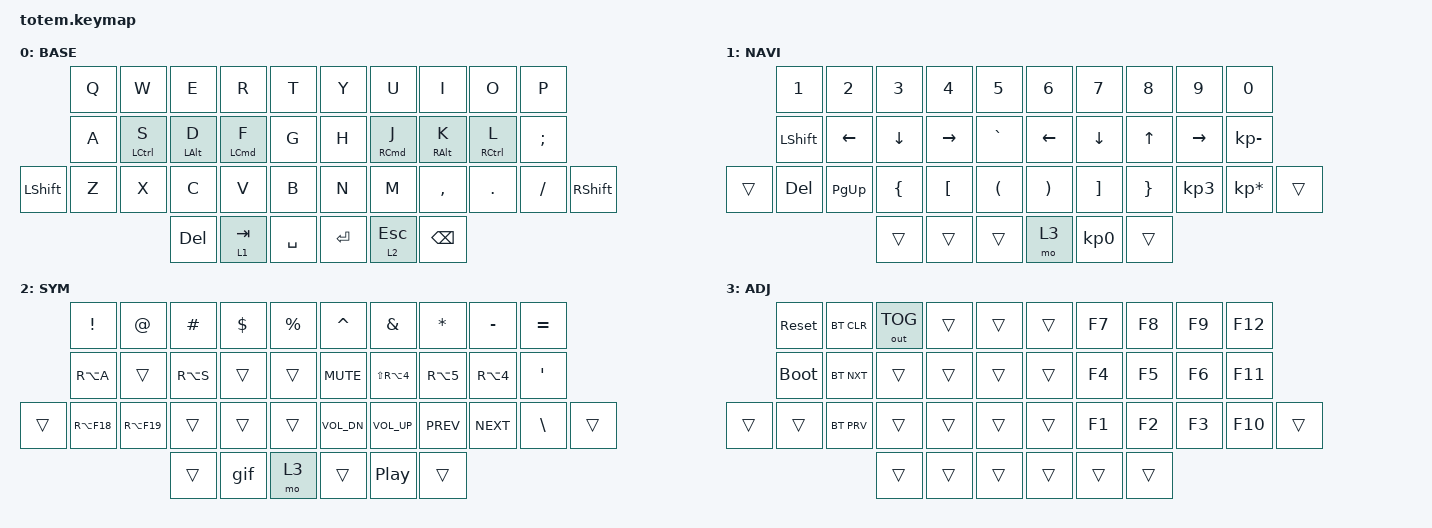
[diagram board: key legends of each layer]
//
//                                                        ▀▀▀▀▀     ▀▀▀▀▀          ▀▀█▀▀
//                                                        ▄▀▀▀▄  ▄  ▄▀▀▀▄  ▄  ▄▀▀▀▄  █  ▄▀▀▀▄
//                                                        █   █  █  █   █  █  █   █  █  █   █
//                                                         ▀▀▀   █   ▀▀▀   █   ▀▀▀   ▀   ▀▀▀
//                                                               █      ▄▄▄█▄▄▄    █   █  
//                                                               ▀      █  █  █     █▄█
//                                                             ▀▀▀▀▀    █  █  █      ▀
//                                                                      ▀  ▀  ▀
//
// ▄▄▄▄▄▄▄▄▄▄▄▄▄▄▄▄▄▄▄▄▄▄▄▄▄▄▄▄▄▄▄▄▄▄▄▄▄▄▄▄▄▄▄▄▄▄▄▄▄▄▄▄▄▄▄▄▄▄▄▄▄▄▄▄▄▄▄▄▄▄▄▄▄▄▄▄▄▄▄▄▄▄▄▄▄▄▄▄▄▄▄▄▄▄▄▄▄▄▄▄▄▄▄▄▄▄▄▄▄▄▄▄▄▄▄▄▄▄▄▄▄▄▄▄▄▄▄▄▄▄▄▄▄▄▄▄▄▄▄▄▄▄▄▄▄▄▄▄▄

#include <behaviors.dtsi>
#include <dt-bindings/zmk/bt.h>
#include <dt-bindings/zmk/keys.h>
#include <dt-bindings/zmk/outputs.h>

#define BASE 0
#define NAV  1
#define SYM  2
#define ADJ  3
#define TVP1 4
#define TVP2 5

// Key position groups for positional hold-tap

#define KEYS_L 0 1 2 3 4 10 11 12 13 14 20 21 22 23 24 25  // left hand
#define KEYS_R 5 6 7 8 9 15 16 17 18 19 26 27 28 29 30 31  // right hand
#define THUMBS_L 32 33 34     // left thumbs
#define THUMBS_R 35 36 37     // right thumbs

/ {
    behaviors {
        hml: homerow_mods_left {
            compatible = "zmk,behavior-hold-tap";
            label = "HOMEROW_MODS_LEFT";
            #binding-cells = <2>;
            flavor = "balanced";
            tapping-term-ms = <280>;
            quick-tap-ms = <175>;
            require-prior-idle-ms = <150>;
            bindings = <&kp>, <&kp>;

            hold-trigger-key-positions = <KEYS_R THUMBS_R>;
            hold-trigger-on-release;
        };

        hmr: homerow_mods_right {
            compatible = "zmk,behavior-hold-tap";
            label = "HOMEROW_MODS_RIGHT";
            #binding-cells = <2>;
            flavor = "balanced";
            tapping-term-ms = <280>;
            quick-tap-ms = <175>;
            require-prior-idle-ms = <150>;
            bindings = <&kp>, <&kp>;

            hold-trigger-key-positions = <KEYS_L THUMBS_L>;
            hold-trigger-on-release;
        };
    };

    combos {
        compatible = "zmk,combos";

        combo_esc {
            timeout-ms = <50>;
            key-positions = <0 1>;
            bindings = <&kp ESC>;
        };
    };

    macros {
        gif: gif {
            label = "giphy";
            compatible = "zmk,behavior-macro";
            #binding-cells = <0>;
            bindings =
                <&macro_press>,
                <&kp LSHFT>,
                <&macro_tap>,
                <&kp N2>,
                <&macro_release>,
                <&kp LSHFT>,
                <&macro_tap>,
                <&kp G &kp I &kp F>;
        };
    };

    keymap {
        compatible = "zmk,keymap";

        // ▄▄▄▄▄▄▄▄▄▄▄▄▄▄▄▄▄▄▄▄▄▄▄▄▄▄▄▄▄▄▄▄▄▄▄▄▄▄▄▄▄▄▄▄▄▄▄▄▄▄▄▄▄▄▄▄▄▄▄▄▄▄▄▄▄▄▄▄▄▄▄▄▄▄▄▄▄▄▄▄▄▄▄▄▄▄▄▄▄▄▄▄▄▄▄▄▄▄▄▄▄▄▄▄▄▄▄▄▄▄▄▄▄▄▄▄▄▄▄▄▄▄▄▄▄▄▄▄▄▄▄▄▄▄▄▄▄▄▄▄▄▄▄▄▄▄▄▄▄

        base_layer {
            // ┏━━━━━━━━━━━━━━━━━━━━━━━━━━━━━━━━━━━━━━━┓

            label = "BASE";

            // ┗━━━━━━━━━━━━━━━━━━━━━━━━━━━━━━━━━━━━━━━┛
            //             ┏━━━━━━━━━━━┳━━━━━━━━━━━┳━━━━━━━━━━━┳━━━━━━━━━━━┳━━━━━━━━━━━┓   ┏━━━━━━━━━━━┳━━━━━━━━━━━┳━━━━━━━━━━━┳━━━━━━━━━━━┳━━━━━━━━━━━┓
            //             ┃     Q     ┃     W     ┃     F     ┃     P     ┃     G     ┃   ┃     J     ┃     L     ┃     U     ┃     Y     ┃     ;     ┃
            //             ┣━━━━━━━━━━━╋━━━━━━━━━━━╋━━━━━━━━━━━╋━━━━━━━━━━━╋━━━━━━━━━━━┫   ┣━━━━━━━━━━━╋━━━━━━━━━━━╋━━━━━━━━━━━╋━━━━━━━━━━━╋━━━━━━━━━━━┫
            //             ┃     A     ┃     R     ┃     S     ┃     T     ┃     D     ┃   ┃     H     ┃     N     ┃     E     ┃     I     ┃     O     ┃
            // ┏━━━━━━━━━━━╋━━━━━━━━━━━╋━━━━━━━━━━━╋━━━━━━━━━━━╋━━━━━━━━━━━╋━━━━━━━━━━━┫   ┣━━━━━━━━━━━╋━━━━━━━━━━━╋━━━━━━━━━━━╋━━━━━━━━━━━╋━━━━━━━━━━━╋━━━━━━━━━━━┓
            // ┃     Q     ┃     Z     ┃     X     ┃     C     ┃     V     ┃     B     ┃   ┃     K     ┃     M     ┃     ,     ┃     .     ┃     /     ┃     \     ┃
            // ┗━━━━━━━━━━━┻━━━━━━━━━━━┻━━━━━━━━━━━╋━━━━━━━━━━━╋━━━━━━━━━━━╋━━━━━━━━━━━┫   ┣━━━━━━━━━━━╋━━━━━━━━━━━╋━━━━━━━━━━━╋━━━━━━━━━━━┻━━━━━━━━━━━┻━━━━━━━━━━━┛
            //                                     ┃    DEL    ┃    TAB    ┃    SPC    ┃   ┃   ENTER   ┃           ┃   BSPC    ┃
            //                                     ┗━━━━━━━━━━━┻━━━━━━━━━━━┻━━━━━━━━━━━┛   ┗━━━━━━━━━━━┻━━━━━━━━━━━┻━━━━━━━━━━━┛

            bindings = <
                &kp Q  &kp W         &kp E            &kp R                &kp T        &kp Y    &kp U        &kp I             &kp O         &kp P
                &kp A  &hml LCTRL S  &hml LEFT_ALT D  &hml LEFT_COMMAND F  &kp G        &kp H    &hmr RCMD J  &hmr RIGHT_ALT K  &hmr RCTRL L  &kp SEMICOLON
&kp LEFT_SHIFT  &kp Z  &kp X         &kp C            &kp V                &kp B        &kp N    &kp M        &kp COMMA         &kp DOT       &kp FSLH       &kp RIGHT_SHIFT
                                     &kp DEL          &lt 1 TAB            &kp SPACE    &kp RET  &lt 2 ESC    &kp BSPC
            >;
        };

        // ▄▄▄▄▄▄▄▄▄▄▄▄▄▄▄▄▄▄▄▄▄▄▄▄▄▄▄▄▄▄▄▄▄▄▄▄▄▄▄▄▄▄▄▄▄▄▄▄▄▄▄▄▄▄▄▄▄▄▄▄▄▄▄▄▄▄▄▄▄▄▄▄▄▄▄▄▄▄▄▄▄▄▄▄▄▄▄▄▄▄▄▄▄▄▄▄▄▄▄▄▄▄▄▄▄▄▄▄▄▄▄▄▄▄▄▄▄▄▄▄▄▄▄▄▄▄▄▄▄▄▄▄▄▄▄▄▄▄▄▄▄▄▄▄▄▄▄▄▄

        nav_layer {
            // ┏━━━━━━━━━━━━━━━━━━━━━━━━━━━━━━━━━━━━━━━┓

            label = "NAVI";

            // ┗━━━━━━━━━━━━━━━━━━━━━━━━━━━━━━━━━━━━━━━┛
            //             ┏━━━━━━━━━━━┳━━━━━━━━━━━┳━━━━━━━━━━━┳━━━━━━━━━━━┳━━━━━━━━━━━┓   ┏━━━━━━━━━━━┳━━━━━━━━━━━┳━━━━━━━━━━━┳━━━━━━━━━━━┳━━━━━━━━━━━┓
            //             ┃           ┃           ┃     UP    ┃           ┃     {     ┃   ┃     }     ┃     7     ┃     8     ┃     9     ┃     +     ┃
            //             ┣━━━━━━━━━━━╋━━━━━━━━━━━╋━━━━━━━━━━━╋━━━━━━━━━━━╋━━━━━━━━━━━┫   ┣━━━━━━━━━━━╋━━━━━━━━━━━╋━━━━━━━━━━━╋━━━━━━━━━━━╋━━━━━━━━━━━┫
            //             ┃   SHIFT   ┃   LEFT    ┃    DOWN   ┃   RIGHT   ┃     [     ┃   ┃     ]     ┃     4     ┃     5     ┃     6     ┃     -     ┃
            // ┏━━━━━━━━━━━╋━━━━━━━━━━━╋━━━━━━━━━━━╋━━━━━━━━━━━╋━━━━━━━━━━━╋━━━━━━━━━━━┫   ┣━━━━━━━━━━━╋━━━━━━━━━━━╋━━━━━━━━━━━╋━━━━━━━━━━━╋━━━━━━━━━━━╋━━━━━━━━━━━┓
            // ┃           ┃           ┃   P UP    ┃  C LOCK   ┃  P DOWN   ┃     (     ┃   ┃     )     ┃     1     ┃     2     ┃     3     ┃     *     ┃           ┃
            // ┗━━━━━━━━━━━┻━━━━━━━━━━━┻━━━━━━━━━━━╋━━━━━━━━━━━╋━━━━━━━━━━━╋━━━━━━━━━━━┫   ┣━━━━━━━━━━━╋━━━━━━━━━━━╋━━━━━━━━━━━╋━━━━━━━━━━━┻━━━━━━━━━━━┻━━━━━━━━━━━┛
            //                                     ┃           ┃    TAB    ┃    SPC    ┃   ┃    DEL    ┃     0     ┃           ┃
            //                                     ┗━━━━━━━━━━━┻━━━━━━━━━━━┻━━━━━━━━━━━┛   ┗━━━━━━━━━━━┻━━━━━━━━━━━┻━━━━━━━━━━━┛

            bindings = <
        &kp NUMBER_1  &kp NUMBER_2  &kp NUMBER_3    &kp NUMBER_4      &kp N5       &kp NUMBER_6  &kp N7             &kp N8           &kp N9     &kp N0
        &kp LSHFT     &kp LEFT      &kp DOWN        &kp RIGHT         &kp GRAVE    &kp LEFT      &kp DOWN           &kp UP_ARROW     &kp RIGHT  &kp KP_MINUS
&trans  &kp DEL       &kp PG_UP     &kp LEFT_BRACE  &kp LEFT_BRACKET  &kp LPAR     &kp RPAR      &kp RIGHT_BRACKET  &kp RIGHT_BRACE  &kp KP_N3  &kp KP_MULTIPLY  &trans
                                    &trans          &trans            &trans       &mo 3         &kp KP_N0          &trans
            >;
        };

        // ▄▄▄▄▄▄▄▄▄▄▄▄▄▄▄▄▄▄▄▄▄▄▄▄▄▄▄▄▄▄▄▄▄▄▄▄▄▄▄▄▄▄▄▄▄▄▄▄▄▄▄▄▄▄▄▄▄▄▄▄▄▄▄▄▄▄▄▄▄▄▄▄▄▄▄▄▄▄▄▄▄▄▄▄▄▄▄▄▄▄▄▄▄▄▄▄▄▄▄▄▄▄▄▄▄▄▄▄▄▄▄▄▄▄▄▄▄▄▄▄▄▄▄▄▄▄▄▄▄▄▄▄▄▄▄▄▄▄▄▄▄▄▄▄▄▄▄▄▄

        sim_layer {
            // ┏━━━━━━━━━━━━━━━━━━━━━━━━━━━━━━━━━━━━━━━┓

            label = "SYM";

            // ┗━━━━━━━━━━━━━━━━━━━━━━━━━━━━━━━━━━━━━━━┛
            //             ┏━━━━━━━━━━━┳━━━━━━━━━━━┳━━━━━━━━━━━┳━━━━━━━━━━━┳━━━━━━━━━━━┓   ┏━━━━━━━━━━━┳━━━━━━━━━━━┳━━━━━━━━━━━┳━━━━━━━━━━━┳━━━━━━━━━━━┓
            //             ┃     !     ┃     @     ┃     #     ┃     $     ┃     %     ┃   ┃     ˆ     ┃     &     ┃     Ü     ┃     '     ┃     "     ┃
            //             ┣━━━━━━━━━━━╋━━━━━━━━━━━╋━━━━━━━━━━━╋━━━━━━━━━━━╋━━━━━━━━━━━┫   ┣━━━━━━━━━━━╋━━━━━━━━━━━╋━━━━━━━━━━━╋━━━━━━━━━━━╋━━━━━━━━━━━┫
            //             ┃     Ä     ┃           ┃    SZ     ┃           ┃           ┃   ┃   MUTE    ┃   YEN     ┃   EURO    ┃  POUND    ┃     Ö     ┃
            // ┏━━━━━━━━━━━╋━━━━━━━━━━━╋━━━━━━━━━━━╋━━━━━━━━━━━╋━━━━━━━━━━━╋━━━━━━━━━━━┫   ┣━━━━━━━━━━━╋━━━━━━━━━━━╋━━━━━━━━━━━╋━━━━━━━━━━━╋━━━━━━━━━━━╋━━━━━━━━━━━┓
            // ┃           ┃  EMAIL1   ┃  EMAIL2   ┃           ┃           ┃           ┃   ┃   VOL-    ┃   VOL+    ┃   LAST    ┃   NEXT    ┃     \     ┃           ┃
            // ┗━━━━━━━━━━━┻━━━━━━━━━━━┻━━━━━━━━━━━╋━━━━━━━━━━━╋━━━━━━━━━━━╋━━━━━━━━━━━┫   ┣━━━━━━━━━━━╋━━━━━━━━━━━╋━━━━━━━━━━━╋━━━━━━━━━━━┻━━━━━━━━━━━┻━━━━━━━━━━━┛
            //                                     ┃           ┃    GIF    ┃    ADJ    ┃   ┃           ┃           ┃           ┃
            //                                     ┗━━━━━━━━━━━┻━━━━━━━━━━━┻━━━━━━━━━━━┛   ┗━━━━━━━━━━━┻━━━━━━━━━━━┻━━━━━━━━━━━┛

            bindings = <
        &kp EXCL     &kp AT       &kp HASH   &kp DLLR  &kp PRCNT    &kp CARET     &kp AMPS        &kp STAR    &kp MINUS   &kp EQUAL
        &kp RA(A)    &trans       &kp RA(S)  &trans    &trans       &kp C_MUTE    &kp LS(RA(N4))  &kp RA(N5)  &kp RA(N4)  &kp SINGLE_QUOTE
&trans  &kp RA(F18)  &kp RA(F19)  &trans     &trans    &trans       &kp C_VOL_DN  &kp C_VOL_UP    &kp C_PREV  &kp C_NEXT  &kp BSLH          &trans
                                  &trans     &gif      &mo 3        &trans        &kp C_PP        &trans
            >;
        };

        // ▄▄▄▄▄▄▄▄▄▄▄▄▄▄▄▄▄▄▄▄▄▄▄▄▄▄▄▄▄▄▄▄▄▄▄▄▄▄▄▄▄▄▄▄▄▄▄▄▄▄▄▄▄▄▄▄▄▄▄▄▄▄▄▄▄▄▄▄▄▄▄▄▄▄▄▄▄▄▄▄▄▄▄▄▄▄▄▄▄▄▄▄▄▄▄▄▄▄▄▄▄▄▄▄▄▄▄▄▄▄▄▄▄▄▄▄▄▄▄▄▄▄▄▄▄▄▄▄▄▄▄▄▄▄▄▄▄▄▄▄▄▄▄▄▄▄▄▄▄

        adjust_layer {
            // ┏━━━━━━━━━━━━━━━━━━━━━━━━━━━━━━━━━━━━━━━┓

            label = "ADJ";

            // ┗━━━━━━━━━━━━━━━━━━━━━━━━━━━━━━━━━━━━━━━┛
            //             ┏━━━━━━━━━━━┳━━━━━━━━━━━┳━━━━━━━━━━━┳━━━━━━━━━━━┳━━━━━━━━━━━┓   ┏━━━━━━━━━━━┳━━━━━━━━━━━┳━━━━━━━━━━━┳━━━━━━━━━━━┳━━━━━━━━━━━┓
            //             ┃   RESET   ┃ BT CLEAR  ┃  OUT TOG  ┃           ┃           ┃   ┃           ┃    F7     ┃    F8     ┃    F9     ┃    F12    ┃
            //             ┣━━━━━━━━━━━╋━━━━━━━━━━━╋━━━━━━━━━━━╋━━━━━━━━━━━╋━━━━━━━━━━━┫   ┣━━━━━━━━━━━╋━━━━━━━━━━━╋━━━━━━━━━━━╋━━━━━━━━━━━╋━━━━━━━━━━━┫
            //             ┃ BOOTLOAD  ┃ BT NEXT   ┃           ┃           ┃           ┃   ┃           ┃    F4     ┃    F5     ┃    F6     ┃    F11    ┃
            // ┏━━━━━━━━━━━╋━━━━━━━━━━━╋━━━━━━━━━━━╋━━━━━━━━━━━╋━━━━━━━━━━━╋━━━━━━━━━━━┫   ┣━━━━━━━━━━━╋━━━━━━━━━━━╋━━━━━━━━━━━╋━━━━━━━━━━━╋━━━━━━━━━━━╋━━━━━━━━━━━┓
            // ┃           ┃           ┃ BT PREV   ┃           ┃           ┃           ┃   ┃           ┃    F1     ┃    F2     ┃    F3     ┃    F10    ┃           ┃
            // ┗━━━━━━━━━━━┻━━━━━━━━━━━┻━━━━━━━━━━━╋━━━━━━━━━━━╋━━━━━━━━━━━╋━━━━━━━━━━━┫   ┣━━━━━━━━━━━╋━━━━━━━━━━━╋━━━━━━━━━━━╋━━━━━━━━━━━┻━━━━━━━━━━━┻━━━━━━━━━━━┛
            //                                     ┃           ┃           ┃           ┃   ┃           ┃           ┃           ┃
            //                                     ┗━━━━━━━━━━━┻━━━━━━━━━━━┻━━━━━━━━━━━┛   ┗━━━━━━━━━━━┻━━━━━━━━━━━┻━━━━━━━━━━━┛

            bindings = <
        &sys_reset   &bt BT_CLR  &out OUT_TOG  &trans  &trans    &trans  &kp F7  &kp F8  &kp F9  &kp F12
        &bootloader  &bt BT_NXT  &trans        &trans  &trans    &trans  &kp F4  &kp F5  &kp F6  &kp F11
&trans  &trans       &bt BT_PRV  &trans        &trans  &trans    &trans  &kp F1  &kp F2  &kp F3  &kp F10  &trans
                                 &trans        &trans  &trans    &trans  &trans  &trans
            >;
        };

        // ▄▄▄▄▄▄▄▄▄▄▄▄▄▄▄▄▄▄▄▄▄▄▄▄▄▄▄▄▄▄▄▄▄▄▄▄▄▄▄▄▄▄▄▄▄▄▄▄▄▄▄▄▄▄▄▄▄▄▄▄▄▄▄▄▄▄▄▄▄▄▄▄▄▄▄▄▄▄▄▄▄▄▄▄▄▄▄▄▄▄▄▄▄▄▄▄▄▄▄▄▄▄▄▄▄▄▄▄▄▄▄▄▄▄▄▄▄▄▄▄▄▄▄▄▄▄▄▄▄▄▄▄▄▄▄▄▄▄▄▄▄▄▄▄▄▄▄▄▄
        // ▄▄▄▄▄▄▄▄▄▄▄▄▄▄▄▄▄▄▄▄▄▄▄▄▄▄▄▄▄▄▄▄▄▄▄▄▄▄▄▄▄▄▄▄▄▄▄▄▄▄▄▄▄▄▄▄▄▄▄▄▄▄▄▄▄▄▄▄▄▄▄▄▄▄▄▄▄▄▄▄▄▄▄▄▄▄▄▄▄▄▄▄▄▄▄▄▄▄▄▄▄▄▄▄▄▄▄▄▄▄▄▄▄▄▄▄▄▄▄▄▄▄▄▄▄▄▄▄▄▄▄▄▄▄▄▄▄▄▄▄▄▄▄▄▄▄▄▄▄
    };
};
